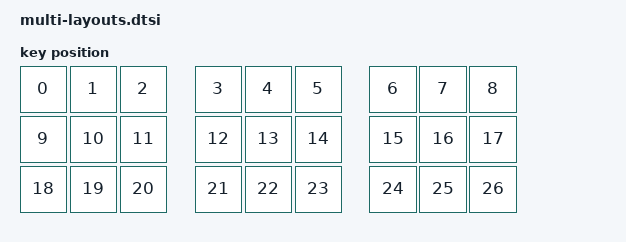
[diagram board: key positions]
#include <physical_layouts.dtsi>

/ {
    layout_0: layout_0 {
        compatible = "zmk,physical-layout";
        display-name = "Layout 0";

        keys  //                     w   h    x    y     rot    rx    ry
            = <&key_physical_attrs 100 100  100    0       0     0     0>
            , <&key_physical_attrs 100 100  200    0       0     0     0>
            , <&key_physical_attrs 100 100  300    0       0     0     0>
            , <&key_physical_attrs 100 100  450    0       0     0     0>
            , <&key_physical_attrs 100 100  550    0       0     0     0>
            , <&key_physical_attrs 100 100  650    0       0     0     0>
            , <&key_physical_attrs 100 100  800    0       0     0     0>
            , <&key_physical_attrs 100 100  900    0       0     0     0>
            , <&key_physical_attrs 100 100 1000    0       0     0     0>
            , <&key_physical_attrs 100 100  100  100       0     0     0>
            , <&key_physical_attrs 100 100  200  100       0     0     0>
            , <&key_physical_attrs 100 100  300  100       0     0     0>
            , <&key_physical_attrs 100 100  450  100       0     0     0>
            , <&key_physical_attrs 100 100  550  100       0     0     0>
            , <&key_physical_attrs 100 100  650  100       0     0     0>
            , <&key_physical_attrs 100 100  800  100       0     0     0>
            , <&key_physical_attrs 100 100  900  100       0     0     0>
            , <&key_physical_attrs 100 100 1000  100       0     0     0>
            , <&key_physical_attrs 100 100  100  200       0     0     0>
            , <&key_physical_attrs 100 100  200  200       0     0     0>
            , <&key_physical_attrs 100 100  300  200       0     0     0>
            , <&key_physical_attrs 100 100  450  200       0     0     0>
            , <&key_physical_attrs 100 100  550  200       0     0     0>
            , <&key_physical_attrs 100 100  650  200       0     0     0>
            , <&key_physical_attrs 100 100  800  200       0     0     0>
            , <&key_physical_attrs 100 100  900  200       0     0     0>
            , <&key_physical_attrs 100 100 1000  200       0     0     0>
            ;
    };

    position_map {
        compatible = "zmk,physical-layout-position-map";

        layout_0 {
            physical-layout = <&layout_0>;
            positions = <>;
        };
    };
};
